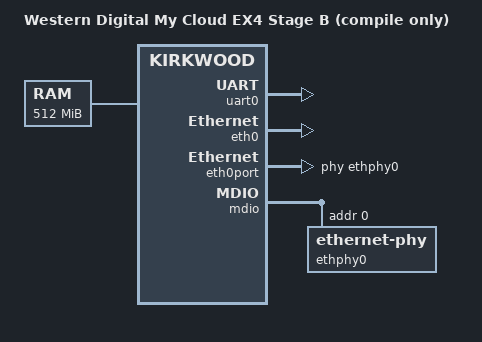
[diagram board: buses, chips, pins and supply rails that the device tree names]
// SPDX-License-Identifier: GPL-2.0-only
/*
 * Diskless Ethernet-enumeration research tree for WD My Cloud EX4.
 *
 * Copyright (c) 2026 PhantoWD EX4 contributors
 */

/dts-v1/;

#include "marvell/kirkwood.dtsi"
#include "marvell/kirkwood-6282.dtsi"

/ {
	model = "Western Digital My Cloud EX4 Stage B (compile only)";
	compatible = "wd,my-cloud-ex4", "marvell,kirkwood-88f6282",
		     "marvell,kirkwood";

	memory@0 {
		device_type = "memory";
		reg = <0x00000000 0x20000000>;
	};

	chosen {
		stdout-path = "serial0:115200n8";
	};

	aliases {
		serial0 = &uart0;
		ethernet0 = &eth0port;
	};
};

&uart0 {
	status = "okay";
};

/* Stage B adds only eth0 and its MDIO PHY; no IP or interface-up operation. */
&eth0 {
	status = "okay";
};

&eth0port {
	phy-handle = <&ethphy0>;
};

&mdio {
	status = "okay";

	ethphy0: ethernet-phy@0 {
		reg = <0>;
	};
};

&eth1 {
	status = "disabled";
};

&uart1 {
	status = "disabled";
};

&gpio0 {
	status = "disabled";
};

&gpio1 {
	status = "disabled";
};

&nand {
	status = "disabled";
};

&crypto_sram {
	status = "disabled";
};

&sata {
	status = "disabled";
};

&sata_phy0 {
	status = "disabled";
};

&sata_phy1 {
	status = "disabled";
};

&sdio {
	status = "disabled";
};

&usb0 {
	status = "disabled";
};

&pciec {
	status = "disabled";
};

&pcie0 {
	status = "disabled";
};

&pcie1 {
	status = "disabled";
};

&i2c0 {
	status = "disabled";
};

&i2c1 {
	status = "disabled";
};

&spi0 {
	status = "disabled";
};

&rtc {
	status = "disabled";
};

&thermal {
	status = "disabled";
};

&wdt {
	status = "disabled";
};

&cesa {
	status = "disabled";
};

&dma0 {
	status = "disabled";
};

&dma1 {
	status = "disabled";
};

&audio0 {
	status = "disabled";
};
